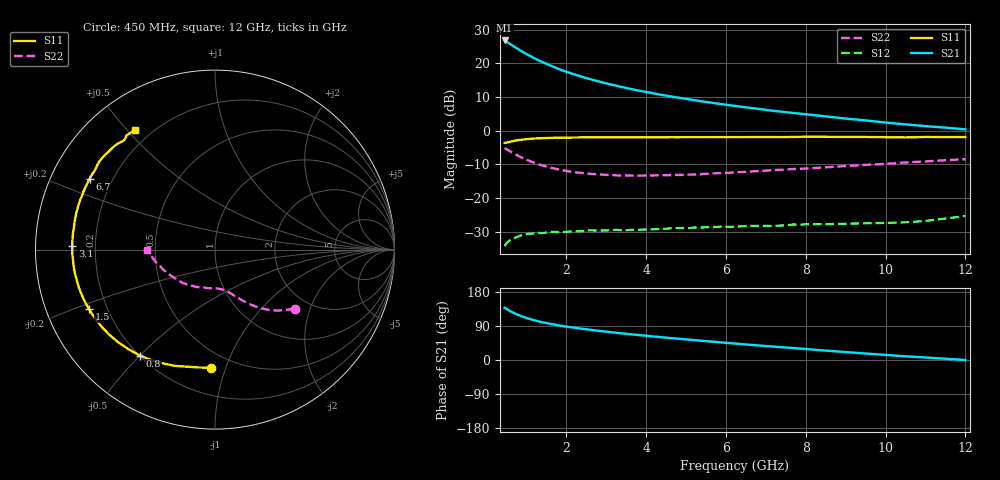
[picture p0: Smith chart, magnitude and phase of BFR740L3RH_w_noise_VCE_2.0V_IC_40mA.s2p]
! (c) 2012  Infineon Technologies AG, Munich
! Infineon Technologies  Discrete & RF Semiconductors
! BFR740L3RH
! VCE =  2.0 V,  IC =  40 mA
! Common Emitter S-Parameters:  May 2012
# GHz  S  MA  R  50
!  f  S11  S21  S12  S22
! GHz  MAG  ANG  MAG  ANG  MAG  ANG  MAG  ANG
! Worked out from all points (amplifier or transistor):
!   85 points, 450 MHz to 12 GHz, reference 50 ohm
!   highest |S21| = 26.8 dB at 450 MHz (marker M1)
!   |S21| within 3 dB of that: start of sweep to 848.7 MHz
!   unconditionally stable (mu >= 1): 3.176 GHz to end of sweep
!   at 1.8 GHz: K = 0.62, MSG = 24.2 dB, |S12| = -30.1 dB
!   at 4.6 GHz: K = 1.39, MAG = 15.9 dB, |S12| = -29.0 dB
!   at 12 GHz: K = 2.79, MAG = 5.5 dB, |S12| = -25.3 dB
!   lowest NFmin = 1.40 dB at 450 MHz
!   S11 on the Smith chart (normalised r, x): 450 MHz: 0.38, -0.89; 800 MHz: 0.20, -0.50; 1.5 GHz: 0.13, -0.22; 3.1 GHz: 0.11, +0.01; 6.7 GHz: 0.12, +0.26; 12 GHz: 0.14, +0.53
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0.45  0.6588 -91.9  21.77 137.8  0.0193 39.7  0.5521 -36.6
0.5  0.6632 -98.1  20.82 134.6  0.0214 41.8  0.5297 -39.1
0.6  0.6854 -109.1  19.07 128.4  0.0242 41.8  0.4889 -44.0
0.7  0.7072 -117.9  17.48 123.1  0.0256 38.2  0.4528 -48.0
0.8  0.7233 -125.2  16.04 118.4  0.027 34.6  0.4206 -51.3
0.9  0.7364 -131.4  14.78 114.4  0.0283 31.7  0.3929 -54.1
1  0.7476 -136.7  13.67 110.8  0.0292 30.4  0.3701 -56.5
1.1  0.7565 -141.3  12.7 107.7  0.0295 29.5  0.3501 -58.6
1.3  0.7685 -148.9  11.06 102.0  0.0303 27.1  0.3169 -62.2
1.5  0.7767 -154.9  9.777 97.4  0.0308 24.5  0.2925 -65.3
1.7  0.7825 -159.9  8.709 93.4  0.0314 24.2  0.2735 -68.1
1.9  0.7873 -164.2  7.848 89.8  0.0312 23.0  0.2583 -70.4
2.4  0.7926 -172.5  6.259 82.4  0.0323 21.5  0.2346 -76.4
3.1  0.7957 178.6  4.863 73.6  0.0334 22.2  0.2191 -84.3
3.6  0.7966 173.4  4.169 68.0  0.0337 22.6  0.2151 -90.7
4.3  0.798 167.6  3.465 60.9  0.0345 24.2  0.2176 -98.9
5.3  0.7999 159.8  2.772 51.6  0.0366 26.8  0.2245 -111.5
6.3  0.8008 153.1  2.296 42.7  0.0378 27.0  0.2413 -124.1
6.7  0.8021 150.5  2.142 39.4  0.0386 27.8  0.2495 -129.0
8.5  0.8093 139.5  1.626 24.8  0.0409 31.5  0.2854 -149.4
10.5  0.7917 129.6  1.238 9.7  0.0436 37.2  0.3372 -168.1
12  0.8026 123.6  1.044 -0.2  0.0541 45.4  0.3767 -179.6
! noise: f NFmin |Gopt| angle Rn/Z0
0.45  1.4  0.19  180  0.12
0.9  1.41  0.2  179  0.12
1.5  1.46  0.25  179  0.1
1.9  1.49  0.27  -179  0.11
2.4  1.55  0.29  -176  0.11
3.5  1.7  0.31  -173  0.11
5.5  2.05  0.35  -163  0.12
8  2.5  0.38  -152  0.19
10  2.86  0.45  -133  0.3
12  3.2  0.49  -121  0.51
